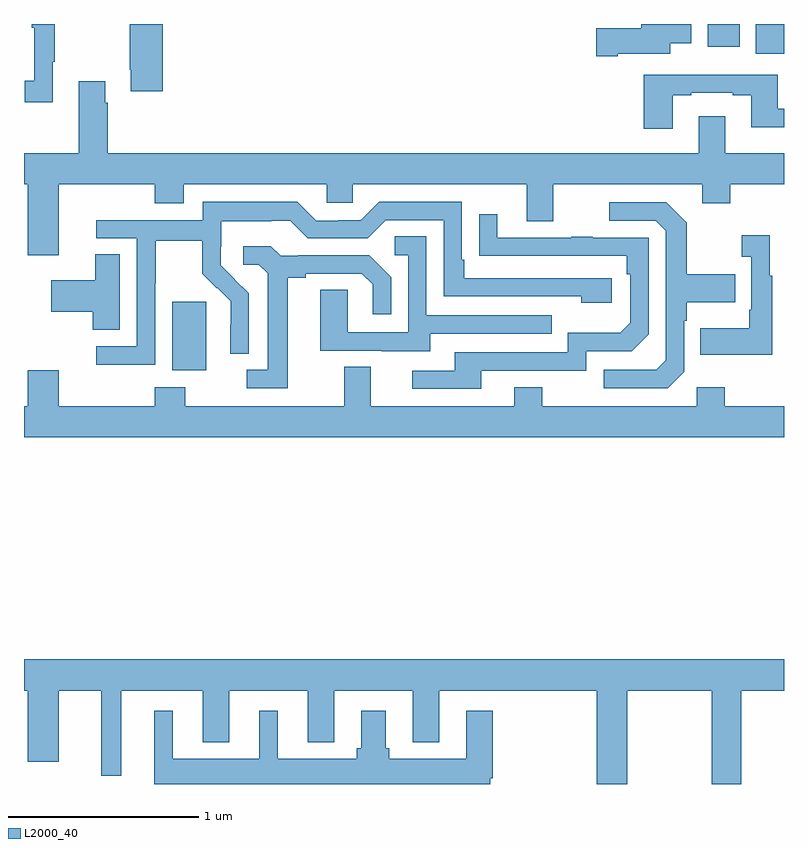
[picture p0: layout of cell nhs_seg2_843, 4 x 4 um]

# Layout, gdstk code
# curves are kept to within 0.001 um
import gdstk
lib = gdstk.Library(unit=1e-6, precision=1e-09)
def R(c, l, rs):  # rectangles x0, y0, x1, y1
    for r in rs: c.add(gdstk.rectangle(r[:2], r[2:], *l))
def P(c, l, *ps):  # polygons
    for p in ps: c.add(gdstk.Polygon(p, *l))
L2000_40 = (2000, 40)

nhs_seg2_843 = lib.new_cell('nhs_seg2_843')
R(nhs_seg2_843, L2000_40, [(153.779,659.978,153.958,660.339), (156.851,661.644,157,661.8), (156.599,661.68,156.766,661.8)])
P(nhs_seg2_843, L2000_40, [(153.151,661.601),(153.163,661.601),(153.163,661.8),(153.042,661.8),(153.042,661.781),(153.054,661.781),(153.054,661.502),(153.003,661.502),(153.003,661.389),(153.151,661.389)],
  [(156.124,661.643),(156.4,661.643),(156.4,661.7),(156.511,661.7),(156.511,661.8),(156.248,661.8),(156.248,661.778),(156.012,661.778),(156.012,661.631),(156.124,661.631)],
  [(153.731,661.8),(153.556,661.8),(153.556,661.558),(153.563,661.558),(153.563,661.446),(153.731,661.446)],
  [(156.415,661.425),(156.511,661.425),(156.511,661.437),(156.731,661.437),(156.731,661.425),(156.827,661.425),(156.827,661.256),(157,661.256),(157,661.353),(156.967,661.353),(156.967,661.534),(156.263,661.534),(156.263,661.248),(156.415,661.248)],
  [(153.184,660.956),(153.689,660.956),(153.689,660.857),(153.841,660.857),(153.841,660.956),(154.593,660.956),(154.593,660.858),(154.731,660.858),(154.731,660.956),(155.645,660.956),(155.645,660.762),(155.785,660.762),(155.785,660.956),(156.569,660.956),(156.569,660.857),(156.717,660.857),(156.717,660.956),(157,660.956),(157,661.12),(156.691,661.12),(156.691,661.315),(156.551,661.315),(156.551,661.12),(153.44,661.12),(153.44,661.385),(153.427,661.385),(153.427,661.498),(153.287,661.498),(153.287,661.12),(153,661.12),(153,660.956),(153.02,660.956),(153.02,660.582),(153.184,660.582)],
  [(153.69,660.436),(153.693,660.436),(153.693,660.66),(153.937,660.66),(153.937,660.485),(154.014,660.408),(154.017,660.411),(154.088,660.341),(154.088,660.218),(154.086,660.218),(154.086,660.064),(154.182,660.064),(154.182,660.382),(154.036,660.53),(154.036,660.627),(154.038,660.627),(154.038,660.761),(154.301,660.761),(154.301,660.765),(154.401,660.765),(154.494,660.672),(154.809,660.672),(154.905,660.768),(155.208,660.768),(155.208,660.366),(155.933,660.366),(155.933,660.332),(156.094,660.332),(156.094,660.462),(155.317,660.462),(155.317,660.559),(155.304,660.559),(155.304,660.864),(154.869,660.864),(154.773,660.768),(154.655,660.768),(154.655,660.765),(154.539,660.765),(154.439,660.865),(153.942,660.865),(153.942,660.768),(153.381,660.768),(153.381,660.672),(153.594,660.672),(153.594,660.105),(153.381,660.105),(153.381,660.007),(153.69,660.007)],
  [(156.474,659.97),(156.474,660.239),(156.487,660.239),(156.487,660.335),(156.743,660.335),(156.743,660.483),(156.487,660.483),(156.487,660.755),(156.381,660.861),(156.081,660.861),(156.081,660.765),(156.324,660.765),(156.378,660.711),(156.378,660.03),(156.327,659.979),(156.051,659.979),(156.051,659.883),(156.387,659.883)],
  [(155.407,659.976),(155.958,659.976),(155.958,660.078),(156.198,660.078),(156.288,660.168),(156.288,660.675),(155.993,660.675),(155.993,660.68),(155.881,660.68),(155.881,660.675),(155.491,660.675),(155.491,660.799),(155.395,660.799),(155.395,660.58),(156.172,660.579),(156.172,660.482),(156.192,660.482),(156.192,660.228),(156.139,660.175),(155.862,660.175),(155.862,660.072),(155.267,660.072),(155.267,659.976),(155.043,659.976),(155.043,659.88),(155.407,659.88)],
  [(156.937,660.475),(156.925,660.475),(156.925,660.688),(156.777,660.688),(156.777,660.575),(156.828,660.575),(156.828,660.295),(156.816,660.295),(156.816,660.199),(156.559,660.199),(156.559,660.059),(156.937,660.059)],
  [(155.137,660.171),(155.777,660.171),(155.777,660.267),(155.118,660.267),(155.118,660.683),(154.95,660.683),(154.95,660.582),(155.022,660.582),(155.022,660.177),(154.704,660.177),(154.704,660.401),(154.559,660.401),(154.559,660.081),(154.883,660.081),(154.883,660.077),(155.137,660.077)],
  [(154.387,660.464),(154.483,660.464),(154.483,660.486),(154.778,660.486),(154.835,660.429),(154.835,660.273),(154.932,660.273),(154.932,660.466),(154.816,660.582),(154.444,660.582),(154.444,660.579),(154.35,660.579),(154.298,660.631),(154.155,660.631),(154.155,660.534),(154.236,660.534),(154.283,660.487),(154.283,659.979),(154.173,659.979),(154.173,659.883),(154.387,659.883)],
  [(153.505,660.587),(153.374,660.587),(153.374,660.451),(153.144,660.451),(153.144,660.286),(153.362,660.286),(153.362,660.19),(153.505,660.19)],
  [(153.02,659.977),(153.02,659.788),(153,659.788),(153,659.624),(157,659.624),(157,659.788),(156.687,659.788),(156.687,659.887),(156.54,659.887),(156.54,659.788),(155.727,659.788),(155.727,659.887),(155.579,659.887),(155.579,659.788),(154.825,659.788),(154.825,659.996),(154.685,659.996),(154.685,659.788),(153.849,659.788),(153.849,659.887),(153.689,659.887),(153.689,659.788),(153.184,659.788),(153.184,659.977)],
  [(153,658.292),(153.02,658.292),(153.02,657.918),(153.184,657.918),(153.184,658.292),(153.407,658.292),(153.407,657.843),(153.511,657.843),(153.511,658.292),(153.941,658.292),(153.941,658.019),(154.081,658.019),(154.081,658.292),(154.493,658.292),(154.493,658.019),(154.633,658.019),(154.633,658.292),(155.045,658.292),(155.045,658.019),(155.185,658.019),(155.185,658.292),(156.014,658.292),(156.014,657.8),(156.174,657.8),(156.174,658.292),(156.619,658.292),(156.619,657.8),(156.774,657.8),(156.774,658.292),(157,658.292),(157,658.456),(153,658.456)],
  [(155.455,657.83),(155.468,657.83),(155.468,658.186),(155.327,658.186),(155.327,657.934),(154.923,657.934),(154.923,657.987),(154.903,657.987),(154.903,658.186),(154.775,658.186),(154.775,657.987),(154.75,657.987),(154.75,657.934),(154.336,657.934),(154.336,658.186),(154.238,658.186),(154.238,657.934),(153.784,657.934),(153.784,658.186),(153.686,658.186),(153.686,657.8),(155.455,657.8)])

lib.write_gds('nhs_seg2_843.gds')
